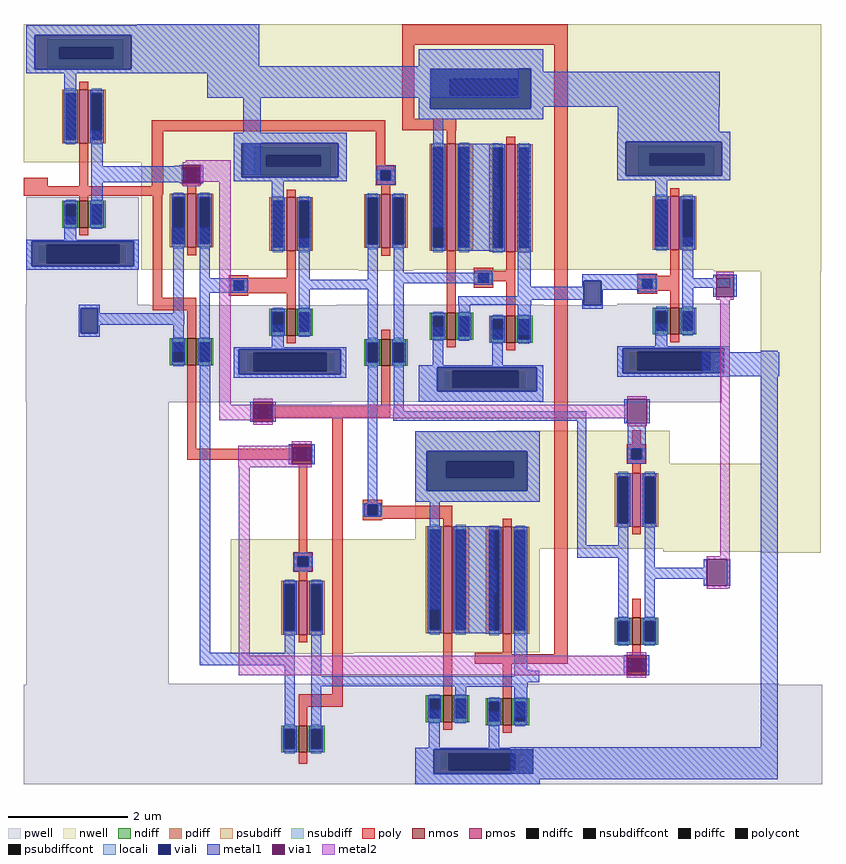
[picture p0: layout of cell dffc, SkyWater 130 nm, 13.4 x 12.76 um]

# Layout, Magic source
magic
tech sky130A
magscale 1 2
<< nwell >>
rect -866 998 1812 1462
rect -472 654 -142 998
rect -472 636 -160 654
rect 210 636 464 998
rect 862 636 1812 998
rect 258 634 442 636
rect 1450 632 1812 636
rect 722 -14 1302 96
rect 1608 -14 1810 632
rect -172 -288 452 -268
rect -172 -650 456 -288
rect 722 -300 1810 -14
rect 1280 -310 1810 -300
rect 1608 -314 1810 -310
rect -172 -652 242 -650
<< pwell >>
rect -858 520 -484 800
rect -860 518 -444 520
rect 184 518 880 520
rect -860 498 166 518
rect 184 498 1500 518
rect -860 196 1478 498
rect -858 194 1478 196
rect -858 192 166 194
rect 866 192 1478 194
rect -858 -754 -380 192
rect -858 -756 1668 -754
rect -866 -1090 1814 -756
<< nmos >>
rect 334 314 364 404
rect 1176 -622 1206 -532
rect 56 -984 86 -894
<< pmos >>
rect 334 710 364 890
rect 56 -588 86 -408
rect 1176 -226 1206 -46
<< ndiff >>
rect 276 392 334 404
rect 276 326 288 392
rect 322 326 334 392
rect 276 314 334 326
rect 364 392 422 404
rect 364 326 376 392
rect 410 326 422 392
rect 364 314 422 326
rect 1118 -544 1176 -532
rect 1118 -610 1130 -544
rect 1164 -610 1176 -544
rect 1118 -622 1176 -610
rect 1206 -544 1264 -532
rect 1206 -610 1218 -544
rect 1252 -610 1264 -544
rect 1206 -622 1264 -610
rect -2 -906 56 -894
rect -2 -972 10 -906
rect 44 -972 56 -906
rect -2 -984 56 -972
rect 86 -906 144 -894
rect 86 -972 98 -906
rect 132 -972 144 -906
rect 86 -984 144 -972
<< pdiff >>
rect 276 878 334 890
rect 276 722 288 878
rect 322 722 334 878
rect 276 710 334 722
rect 364 878 422 890
rect 364 722 376 878
rect 410 722 422 878
rect 364 710 422 722
rect -2 -420 56 -408
rect -2 -576 10 -420
rect 44 -576 56 -420
rect -2 -588 56 -576
rect 86 -420 144 -408
rect 86 -576 98 -420
rect 132 -576 144 -420
rect 86 -588 144 -576
rect 1118 -58 1176 -46
rect 1118 -214 1130 -58
rect 1164 -214 1176 -58
rect 1118 -226 1176 -214
rect 1206 -58 1264 -46
rect 1206 -214 1218 -58
rect 1252 -214 1264 -58
rect 1206 -226 1264 -214
<< ndiffc >>
rect 288 326 322 392
rect 376 326 410 392
rect 1130 -610 1164 -544
rect 1218 -610 1252 -544
rect 10 -972 44 -906
rect 98 -972 132 -906
<< pdiffc >>
rect 288 722 322 878
rect 376 722 410 878
rect 10 -576 44 -420
rect 98 -576 132 -420
rect 1130 -214 1164 -58
rect 1218 -214 1252 -58
<< poly >>
rect 404 1392 960 1462
rect 404 1144 444 1392
rect -436 1102 348 1138
rect 404 1106 586 1144
rect -866 918 -786 946
rect -436 918 -398 1102
rect 316 987 348 1102
rect 554 1078 584 1106
rect 316 971 382 987
rect 316 937 332 971
rect 366 937 382 971
rect 316 921 382 937
rect -866 888 -398 918
rect 334 890 364 921
rect -866 886 -402 888
rect -434 542 -402 886
rect 334 684 364 710
rect -178 610 -112 618
rect -178 558 46 610
rect -178 550 -112 558
rect -434 500 -288 542
rect -318 422 -288 500
rect 334 404 364 436
rect -318 36 -288 308
rect 334 178 364 314
rect -70 142 364 178
rect 34 36 100 51
rect -318 -2 100 36
rect 34 -16 100 -2
rect 56 -311 86 -16
rect 38 -327 104 -311
rect 38 -361 54 -327
rect 88 -361 104 -327
rect 38 -377 104 -361
rect 56 -408 86 -377
rect 56 -614 86 -588
rect 170 -788 204 142
rect 272 -156 338 -136
rect 272 -200 572 -156
rect 272 -204 338 -200
rect 914 -654 960 1392
rect 1200 566 1320 616
rect 1176 51 1206 98
rect 1158 35 1224 51
rect 1158 1 1174 35
rect 1208 1 1224 35
rect 1158 -15 1224 1
rect 1176 -46 1206 -15
rect 1176 -252 1206 -226
rect 1176 -532 1206 -468
rect 648 -686 960 -654
rect 1176 -660 1206 -622
rect 56 -830 204 -788
rect 56 -894 86 -830
rect 56 -1022 86 -984
<< polycont >>
rect 332 937 366 971
rect 54 -361 88 -327
rect 1174 1 1208 35
<< locali >>
rect 316 937 332 971
rect 366 937 382 971
rect 288 878 322 894
rect 288 706 322 722
rect 376 878 410 894
rect 376 706 410 722
rect 288 392 322 408
rect 288 310 322 326
rect 376 392 410 408
rect 376 310 410 326
rect 1158 1 1174 35
rect 1208 1 1224 35
rect 1130 -58 1164 -42
rect 1130 -230 1164 -214
rect 1218 -58 1252 -42
rect 1218 -230 1252 -214
rect 38 -361 54 -327
rect 88 -361 104 -327
rect 10 -420 44 -404
rect 10 -592 44 -576
rect 98 -420 132 -404
rect 98 -592 132 -576
rect 1130 -544 1164 -528
rect 1130 -626 1164 -610
rect 1218 -544 1252 -528
rect 1218 -626 1252 -610
rect 10 -906 44 -890
rect 10 -988 44 -972
rect 98 -906 132 -890
rect 98 -988 132 -972
<< viali >>
rect 332 937 366 971
rect 288 722 322 878
rect 376 722 410 878
rect 1014 518 1072 600
rect -676 424 -618 508
rect 288 326 322 392
rect 376 326 410 392
rect 1174 1 1208 35
rect 1130 -214 1164 -58
rect 1218 -214 1252 -58
rect 54 -361 88 -327
rect 10 -576 44 -420
rect 98 -576 132 -420
rect 1130 -610 1164 -544
rect 1218 -610 1252 -544
rect 10 -972 44 -906
rect 98 -972 132 -906
<< metal1 >>
rect -486 1320 -76 1462
rect -486 1296 796 1320
rect -250 1214 796 1296
rect -342 986 -332 988
rect -362 984 -332 986
rect -620 930 -332 984
rect -342 928 -332 930
rect -274 928 -264 988
rect -130 954 -70 1214
rect 836 1184 1470 1302
rect 1128 1066 1468 1184
rect 318 971 378 986
rect 318 937 332 971
rect 366 937 380 971
rect 318 922 380 937
rect 282 878 328 890
rect -682 508 -612 520
rect -682 424 -676 508
rect -618 490 -612 508
rect -364 490 -330 778
rect -276 608 -242 778
rect 282 722 288 878
rect 322 722 328 878
rect 282 710 328 722
rect 370 878 416 890
rect 370 722 376 878
rect 410 722 416 878
rect 370 710 416 722
rect -276 560 -114 608
rect 288 604 322 710
rect 56 572 322 604
rect -618 452 -328 490
rect -618 424 -612 452
rect -682 412 -612 424
rect -364 362 -330 452
rect -276 362 -242 560
rect 288 404 322 572
rect 376 626 410 710
rect 376 592 696 626
rect 1008 600 1258 622
rect 376 404 410 592
rect 1008 580 1014 600
rect 834 536 1014 580
rect 1008 518 1014 536
rect 1072 570 1258 600
rect 1072 518 1078 570
rect 1196 562 1258 570
rect 1448 546 1458 620
rect 1518 546 1528 620
rect 1008 506 1078 518
rect 282 392 328 404
rect -276 -650 -240 362
rect 282 326 288 392
rect 322 326 328 392
rect 282 314 328 326
rect 370 392 416 404
rect 370 326 376 392
rect 410 326 416 392
rect 1608 360 1666 364
rect 370 314 416 326
rect -106 126 -96 193
rect -30 126 -20 193
rect 288 156 322 314
rect 376 162 410 314
rect 1412 280 1670 360
rect 24 -16 34 51
rect 100 -16 110 51
rect 288 -150 320 156
rect 374 130 1022 162
rect 992 -288 1022 130
rect 1150 122 1160 202
rect 1226 122 1236 202
rect 1162 48 1222 122
rect 1160 35 1222 48
rect 1160 1 1174 35
rect 1208 1 1222 35
rect 1160 -14 1222 1
rect 1124 -58 1170 -46
rect 1124 -214 1130 -58
rect 1164 -214 1170 -58
rect 1124 -226 1170 -214
rect 1212 -58 1258 -46
rect 1212 -214 1218 -58
rect 1252 -214 1258 -58
rect 1212 -226 1258 -214
rect 1130 -288 1164 -226
rect 40 -327 102 -314
rect 40 -361 54 -327
rect 88 -361 102 -327
rect 992 -330 1164 -288
rect 40 -376 102 -361
rect 4 -420 50 -408
rect 4 -576 10 -420
rect 44 -576 50 -420
rect 4 -588 50 -576
rect 92 -420 138 -408
rect 92 -576 98 -420
rect 132 -576 138 -420
rect 1130 -532 1164 -330
rect 1218 -364 1252 -226
rect 1416 -364 1426 -336
rect 1218 -400 1426 -364
rect 1218 -532 1252 -400
rect 1416 -424 1426 -400
rect 1496 -424 1506 -336
rect 92 -588 138 -576
rect 1124 -544 1170 -532
rect 10 -650 44 -588
rect -276 -692 44 -650
rect 10 -894 44 -692
rect 98 -728 132 -588
rect 1124 -610 1130 -544
rect 1164 -610 1170 -544
rect 1124 -622 1170 -610
rect 1212 -544 1258 -532
rect 1212 -610 1218 -544
rect 1252 -610 1258 -544
rect 1212 -622 1258 -610
rect 1148 -724 1158 -657
rect 1224 -724 1234 -657
rect 98 -762 808 -728
rect 98 -894 132 -762
rect 4 -906 50 -894
rect 4 -972 10 -906
rect 44 -972 50 -906
rect 4 -984 50 -972
rect 92 -906 138 -894
rect 92 -972 98 -906
rect 132 -972 138 -906
rect 1608 -966 1666 280
rect 92 -984 138 -972
rect 768 -1072 1666 -966
rect 768 -1074 1664 -1072
<< via1 >>
rect -332 928 -274 988
rect 1458 546 1518 620
rect -96 126 -30 193
rect 34 -16 100 51
rect 1160 122 1226 202
rect 1426 -424 1496 -336
rect 1158 -724 1224 -657
<< metal2 >>
rect -322 998 -172 1004
rect -332 988 -172 998
rect -274 932 -172 988
rect -332 918 -274 928
rect -210 184 -172 932
rect 1458 620 1518 630
rect 1458 536 1518 546
rect -96 193 -30 203
rect -210 132 -96 184
rect 1160 202 1226 212
rect -30 138 1160 184
rect -96 116 -30 126
rect 1160 112 1226 122
rect 34 51 100 61
rect -146 -16 34 46
rect -146 -26 100 -16
rect -144 -660 -108 -26
rect 1472 -326 1504 536
rect 1426 -336 1504 -326
rect 1496 -424 1504 -336
rect 1426 -432 1504 -424
rect 1426 -434 1496 -432
rect 1158 -657 1224 -647
rect -144 -724 1158 -660
rect 1158 -734 1224 -724
use sky130_fd_pr__pfet_01v8_ACP95B  sky130_fd_pr__pfet_01v8_ACP95B_5
transform 1 0 67 0 1 -52
box -33 36 33 103
use sky130_fd_pr__pfet_01v8_ACP95B  sky130_fd_pr__pfet_01v8_ACP95B_2
transform 1 0 305 0 1 -240
box -33 36 33 103
use nor  nor_1
transform 1 0 510 0 1 -344
box -62 -746 356 438
use sky130_fd_pr__pfet_01v8_ACP95B  sky130_fd_pr__pfet_01v8_ACP95B_6
transform 1 0 1191 0 1 -760
box -33 36 33 103
use sky130_fd_pr__nfet_01v8_J836M4  sky130_fd_pr__nfet_01v8_J836M4_0
transform 1 0 -303 0 1 361
box -73 -71 73 71
use sky130_fd_pr__pfet_01v8_A663FE  sky130_fd_pr__pfet_01v8_A663FE_0
transform 1 0 -303 0 1 838
box -109 -188 109 154
use inverter2  inverter2_1
transform 1 0 -774 0 1 1000
box -84 -364 296 458
use sky130_fd_pr__pfet_01v8_ACP95B  sky130_fd_pr__pfet_01v8_ACP95B_3
transform 1 0 -63 0 1 90
box -33 36 33 103
use sky130_fd_pr__pfet_01v8_ACP95B  sky130_fd_pr__pfet_01v8_ACP95B_0
transform 1 0 -145 0 1 514
box -33 36 33 103
use inverter2  inverter2_0
transform 1 0 -78 0 1 638
box -84 -364 296 458
use sky130_fd_pr__pfet_01v8_ACP95B  sky130_fd_pr__pfet_01v8_ACP95B_1
transform 1 0 677 0 1 540
box -33 36 33 103
use nor  nor_0
transform 1 0 522 0 1 940
box -62 -746 356 438
use sky130_fd_pr__pfet_01v8_ACP95B  sky130_fd_pr__pfet_01v8_ACP95B_4
transform 1 0 1227 0 1 520
box -33 36 33 103
use inverter2  inverter2_2
transform 1 0 1210 0 1 642
box -84 -364 296 458
<< end >>

# cell sky130_fd_pr__pfet_01v8_ACP95B: kit device sky130_fd_pr__pfet_01v8, w 0.42 l 0.15 m 1 nf 1 diffcov 100 polycov 100 guard 0 glc 0 grc 0 gtc 0 gbc 0 tbcov 100 rlcov 100 topc 1 botc 0 poverlap 0 doverlap 0 lmin 0.15 wmin 0.42 compatible {sky130_fd_pr__pfet_01v8 sky130_fd_pr__pfet_01v8_lvt sky130_fd_pr__pfet_01v8_hvt sky130_fd_pr__pfet_g5v0d10v5} full_metal 0 viasrc 100 viadrn 100 viagate 100 viagb 0 viagr 0 viagl 0 viagt 0

# cell nor: kit device sky130_fd_pr__pfet_01v8, w 0.9 l 0.15 m 1 nf 2 diffcov 100 polycov 100 guard 0 glc 0 grc 0 gtc 0 gbc 0 tbcov 100 rlcov 100 topc 0 botc 0 poverlap 0 doverlap 1 lmin 0.15 wmin 0.42 compatible {sky130_fd_pr__pfet_01v8 sky130_fd_pr__pfet_01v8_lvt sky130_fd_pr__pfet_01v8_hvt sky130_fd_pr__pfet_g5v0d10v5} full_metal 0 viasrc 100 viadrn 100 viagate 100 viagb 0 viagr 0 viagl 0 viagt 0

# cell sky130_fd_pr__nfet_01v8_J836M4: kit device sky130_fd_pr__nfet_01v8, w 0.45 l 0.150 m 1 nf 1 diffcov 100 polycov 100 guard 0 glc 0 grc 0 gtc 0 gbc 0 tbcov 100 rlcov 100 topc 0 botc 0 poverlap 0 doverlap 1 lmin 0.15 wmin 0.42 compatible {sky130_fd_pr__nfet_01v8 sky130_fd_pr__nfet_01v8_lvt sky130_fd_bs_flash__special_sonosfet_star sky130_fd_pr__nfet_g5v0d10v5 sky130_fd_pr__nfet_05v0_nvt} full_metal 0 viasrc 100 viadrn 100 viagate 100 viagb 0 viagr 0 viagl 0 viagt 0

# cell sky130_fd_pr__pfet_01v8_A663FE: kit device sky130_fd_pr__pfet_01v8, w 0.9 l 0.15 m 1 nf 1 diffcov 100 polycov 100 guard 0 glc 0 grc 0 gtc 0 gbc 0 tbcov 100 rlcov 100 topc 1 botc 0 poverlap 0 doverlap 1 lmin 0.15 wmin 0.42 compatible {sky130_fd_pr__pfet_01v8 sky130_fd_pr__pfet_01v8_lvt sky130_fd_pr__pfet_01v8_hvt sky130_fd_pr__pfet_g5v0d10v5} full_metal 0 viasrc 100 viadrn 100 viagate 100 viagb 0 viagr 0 viagl 0 viagt 0

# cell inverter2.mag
magic
tech sky130A
magscale 1 2
<< nwell >>
rect -84 -2 296 458
<< pwell >>
rect -84 -364 294 -120
<< psubdiff >>
rect -40 -342 -16 -280
rect 228 -342 252 -280
<< nsubdiff >>
rect -14 384 242 412
rect -14 346 26 384
rect 208 346 242 384
rect -14 316 242 346
<< psubdiffcont >>
rect -16 -342 228 -280
<< nsubdiffcont >>
rect 26 346 208 384
<< poly >>
rect 94 -122 124 48
<< viali >>
rect -56 384 268 424
rect -56 346 26 384
rect 26 346 208 384
rect 208 346 268 384
rect -56 310 268 346
rect -66 -280 276 -268
rect -66 -342 -16 -280
rect -16 -342 228 -280
rect 228 -342 276 -280
rect -66 -352 276 -342
<< metal1 >>
rect -84 424 296 458
rect -84 310 -56 424
rect 268 310 296 424
rect -84 296 296 310
rect 44 64 84 296
rect 134 -34 172 104
rect 134 -66 296 -34
rect 44 -262 84 -186
rect 134 -224 172 -66
rect -84 -268 294 -262
rect -84 -352 -66 -268
rect 276 -352 294 -268
rect -84 -364 294 -352
use sky130_fd_pr__nfet_01v8_J836M4  sky130_fd_pr__nfet_01v8_J836M4_0
transform 1 0 109 0 1 -177
box -73 -71 73 71
use sky130_fd_pr__pfet_01v8_5AYHFE  sky130_fd_pr__pfet_01v8_5AYHFE_0
transform 1 0 109 0 1 152
box -109 -152 109 152
<< end >>

# cell sky130_fd_pr__pfet_01v8_5AYHFE: kit device sky130_fd_pr__pfet_01v8, w 0.9 l 0.15 m 1 nf 1 diffcov 100 polycov 100 guard 0 glc 0 grc 0 gtc 0 gbc 0 tbcov 100 rlcov 100 topc 0 botc 0 poverlap 0 doverlap 1 lmin 0.15 wmin 0.42 compatible {sky130_fd_pr__pfet_01v8 sky130_fd_pr__pfet_01v8_lvt sky130_fd_pr__pfet_01v8_hvt sky130_fd_pr__pfet_g5v0d10v5} full_metal 0 viasrc 100 viadrn 100 viagate 100 viagb 0 viagr 0 viagl 0 viagt 0

# cell sky130_fd_pr__pfet_01v8_5CNMEE: kit device sky130_fd_pr__pfet_01v8, w 1.8 l 0.15 m 1 nf 1 diffcov 100 polycov 100 guard 0 glc 0 grc 0 gtc 0 gbc 0 tbcov 100 rlcov 100 topc 0 botc 0 poverlap 0 doverlap 1 lmin 0.15 wmin 0.42 compatible {sky130_fd_pr__pfet_01v8 sky130_fd_pr__pfet_01v8_lvt sky130_fd_pr__pfet_01v8_hvt sky130_fd_pr__pfet_g5v0d10v5} full_metal 0 viasrc 100 viadrn 100 viagate 100 viagb 0 viagr 0 viagl 0 viagt 0
